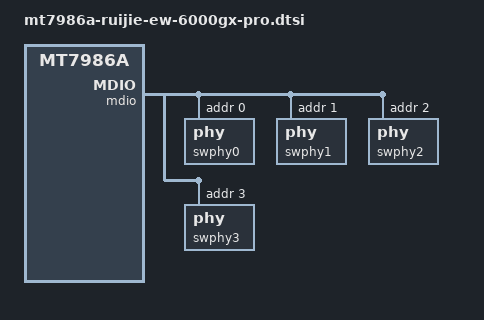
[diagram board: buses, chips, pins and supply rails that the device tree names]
// SPDX-License-Identifier: (GPL-2.0 OR MIT)

/dts-v1/;
#include "mt7986a-ruijie-rg-x60-common.dtsi"

&switch {
	ports {
		#address-cells = <1>;
		#size-cells = <0>;

		port@0 {
			reg = <0>;
			label = "lan1";
			phy-handle = <&swphy0>;
		};

		port@1 {
			reg = <1>;
			label = "lan2";
			phy-handle = <&swphy1>;
		};

		port@2 {
			reg = <2>;
			label = "lan3";
			phy-handle = <&swphy2>;
		};

		port@3 {
			reg = <3>;
			label = "lan4";
			phy-handle = <&swphy3>;
		};

		port@6 {
			reg = <6>;
			label = "cpu";
			ethernet = <&gmac0>;
			phy-mode = "2500base-x";

			fixed-link {
				speed = <2500>;
				full-duplex;
				pause;
			};
		};
	};

	mdio {
		#address-cells = <1>;
		#size-cells = <0>;

		swphy0: phy@0 {
			reg = <0>;

			mediatek,led-config = <
				0x21 0x8009 /* BASIC_CTRL */
				0x22 0x0c00 /* ON_DURATION */
				0x23 0x1400 /* BLINK_DURATION */
				0x24 0x8000 /* LED0_ON_CTRL */
				0x25 0x0000 /* LED0_BLINK_CTRL */
				0x26 0xc007 /* LED1_ON_CTRL */
				0x27 0x003f /* LED1_BLINK_CTRL */
			>;
		};

		swphy1: phy@1 {
			reg = <1>;

			mediatek,led-config = <
				0x21 0x8009 /* BASIC_CTRL */
				0x22 0x0c00 /* ON_DURATION */
				0x23 0x1400 /* BLINK_DURATION */
				0x24 0x8000 /* LED0_ON_CTRL */
				0x25 0x0000 /* LED0_BLINK_CTRL */
				0x26 0xc007 /* LED1_ON_CTRL */
				0x27 0x003f /* LED1_BLINK_CTRL */
			>;
		};

		swphy2: phy@2 {
			reg = <2>;

			mediatek,led-config = <
				0x21 0x8009 /* BASIC_CTRL */
				0x22 0x0c00 /* ON_DURATION */
				0x23 0x1400 /* BLINK_DURATION */
				0x24 0x8000 /* LED0_ON_CTRL */
				0x25 0x0000 /* LED0_BLINK_CTRL */
				0x26 0xc007 /* LED1_ON_CTRL */
				0x27 0x003f /* LED1_BLINK_CTRL */
			>;
		};

		swphy3: phy@3 {
			reg = <3>;

			mediatek,led-config = <
				0x21 0x8009 /* BASIC_CTRL */
				0x22 0x0c00 /* ON_DURATION */
				0x23 0x1400 /* BLINK_DURATION */
				0x24 0x8000 /* LED0_ON_CTRL */
				0x25 0x0000 /* LED0_BLINK_CTRL */
				0x26 0xc007 /* LED1_ON_CTRL */
				0x27 0x003f /* LED1_BLINK_CTRL */
			>;
		};
	};
};
